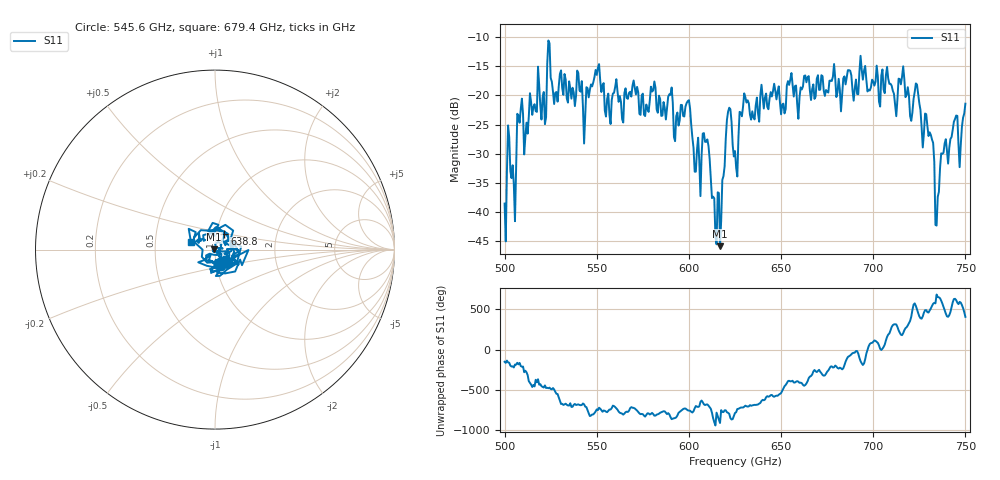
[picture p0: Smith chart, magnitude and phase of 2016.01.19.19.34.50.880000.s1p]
!Created with skrf (http://scikit-rf.org).
# GHz S RI R 50.0
!freq ReS11 ImS11
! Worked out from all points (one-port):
!   401 points, 500 GHz to 750 GHz, reference 50 ohm
!   lowest |S11| = -45.9 dB at 616.9 GHz (marker M1), VSWR 1.01, Z = 49.5 + j0.0904 ohm
!   |S11| at or under -10 dB: start of sweep to end of sweep
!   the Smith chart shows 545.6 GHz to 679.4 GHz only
!   S11 on the Smith chart (normalised r, x): 545.6 GHz: 1.05, -0.19; 638.8 GHz: 1.09, +0.19; 679.4 GHz: 0.76, +0.07
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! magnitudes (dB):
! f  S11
! 500 GHz  -38.6
! 502.5 GHz  -27.2
! 505 GHz  -35.3
! 508.1 GHz  -24.7
! 521.2 GHz  -19.4
! 524.4 GHz  -11.0
! 531.2 GHz  -18.7
! 545.6 GHz  -20.3
! 562.5 GHz  -20.1
! 580.6 GHz  -19.1
! 593.8 GHz  -22.9
! 599.4 GHz  -21.0
! 603.1 GHz  -33.1
! 608.8 GHz  -28.0
! 613.8 GHz  -37.7
! 616.9 GHz  -45.9
! 621.2 GHz  -22.8
! 625 GHz  -29.6
! 630.6 GHz  -20.3
! 638.8 GHz  -20.0
! 656.2 GHz  -18.1
! 679.4 GHz  -17.0
! 687.5 GHz  -15.7
! 718.8 GHz  -18.6
! 729.4 GHz  -25.2
! 735 GHz  -37.5
! 738.1 GHz  -29.9
! 750 GHz  -21.4
